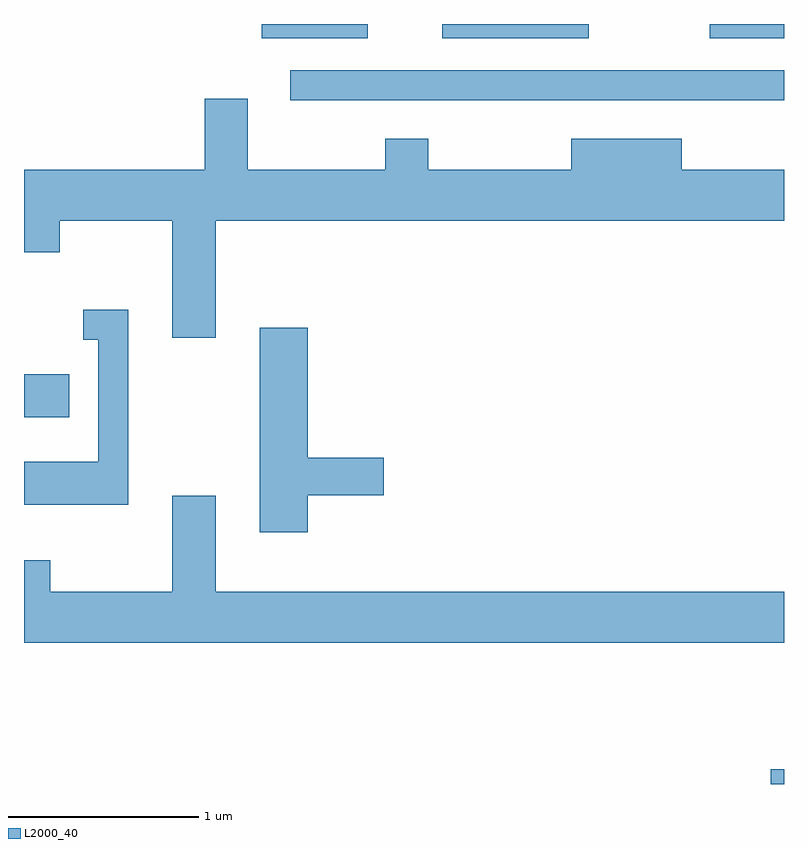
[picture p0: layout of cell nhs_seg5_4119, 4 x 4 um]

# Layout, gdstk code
import gdstk
lib = gdstk.Library(unit=1e-6, precision=1e-09)
def R(c, l, rs):  # rectangles x0, y0, x1, y1
    for r in rs: c.add(gdstk.rectangle(r[:2], r[2:], *l))
def P(c, l, *ps):  # polygons
    for p in ps: c.add(gdstk.Polygon(p, *l))
L2000_40 = (2000, 40)

nhs_seg5_4119 = lib.new_cell('nhs_seg5_4119')
R(nhs_seg5_4119, L2000_40, [(311.541,1436.072,311.611,1436.149), (307.611,1438.001,307.849,1438.229), (309.013,1439.671,311.611,1439.829), (308.861,1439.996,309.419,1440.072), (309.811,1439.996,310.584,1440.072), (311.221,1439.996,311.611,1440.072)])
P(nhs_seg5_4119, L2000_40, [(308.619,1439.036),(311.611,1439.036),(311.611,1439.304),(311.074,1439.304),(311.074,1439.469),(310.491,1439.469),(310.491,1439.304),(309.739,1439.304),(309.739,1439.469),(309.511,1439.469),(309.511,1439.304),(308.789,1439.304),(308.789,1439.679),(308.561,1439.679),(308.561,1439.304),(307.611,1439.304),(307.611,1438.871),(307.799,1438.871),(307.799,1439.036),(308.391,1439.036),(308.391,1438.421),(308.619,1438.421)],
  [(308.159,1438.569),(307.923,1438.569),(307.923,1438.411),(308.001,1438.411),(308.001,1437.769),(307.611,1437.769),(307.611,1437.541),(308.159,1437.541)],
  [(309.104,1437.591),(309.504,1437.591),(309.504,1437.789),(309.104,1437.789),(309.104,1438.474),(308.851,1438.474),(308.851,1437.396),(309.104,1437.396)],
  [(311.611,1437.084),(308.619,1437.084),(308.619,1437.589),(308.391,1437.589),(308.391,1437.084),(307.749,1437.084),(307.749,1437.249),(307.611,1437.249),(307.611,1436.816),(311.611,1436.816)])

lib.write_gds('nhs_seg5_4119.gds')
